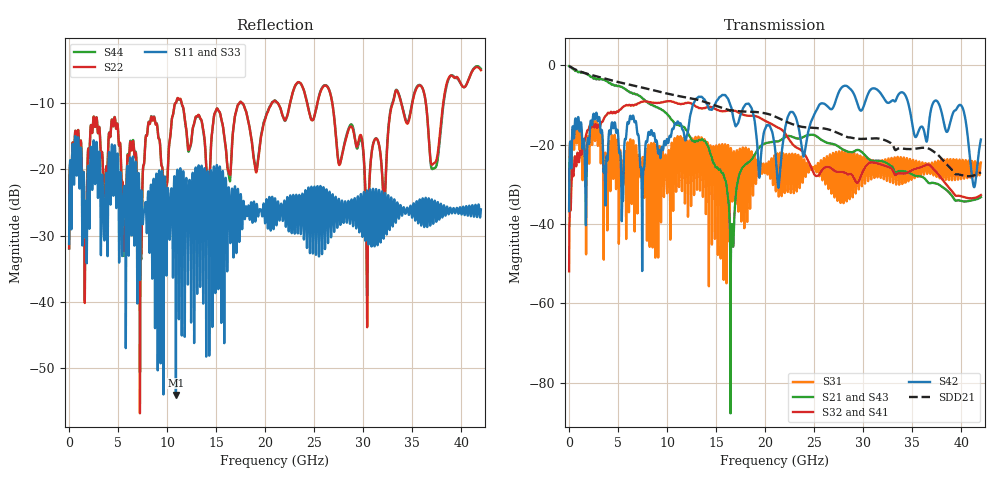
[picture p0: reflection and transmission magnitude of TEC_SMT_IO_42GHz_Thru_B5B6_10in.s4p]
!! CHANNEL DESCRIPTION: Next Generation 28Gbps High Density SMT I/O Connector
!!  with 10" 5-6-5 Megatron 6 Stripline trace on host side and 1.25" 7-5-7 Megtron 6 Microstrip trace on plug side at 14GHz
!! HOST PCB DESCRIPTION: PCB thickness 2.86 mm, Nelco 4000-13SI (Dk 3.32, Df 0.010)
!!  23 Layer Board, 12 GND planes, 2 Layer route-out on Layers 10,12, 8 mil stub on vias
!!  Pairs on following layers
!!  Layer 12 - B5B6
!! CONNECTOR DESCRIPTION:  Next Generation 28Gbps High Density SMT I/O Connector
!! PLUG-IN CARD DESCRIPTION:  PCB thickness 1mm thick, Nelco 4000-13SI (Dk 3.32, Df 0.010)
!!  6 Layer Board, 4 GND planes, 0.35 x 1.4mm mating pads
!!  Micro-strip diff traces referenced to GND plane 3mils down, 2nd GND plane 15mils from top of board
!!  PCB GND planes are symmetric
!! MODEL DESCRIPTION: TE Connectivity S-parameter model produced from Macro-model
!! MODEL DATE: 9/25/2014 CR1a_GC1i, VR6&12_4
!! MODEL STATUS: Developmental
!! MODEL GEOMETRY: 2 Rows - Rows A, B. 3 pairs in each row, 6 total pairs
!! MODEL FREQUENCY RANGE: DC to 42 GHz in 10 MHz frequency steps
!! MODEL EDGE RATE LIMITATION: 11.90 ps (Using conservative 0.5/Fmax rule of thumb)
!! TIME-DOMAIN TRANSFORM CAUTIONS:
!! 1.) Do not simulate transient edge rates faster than the number listed above.  Edge
!!  rates faster than this number contain significant spectral content at frequencies
!!  above the model's highest frequency.
!! 2.) Even when simulating edge rates that are slower than the number listed above, be
!!  aware that the best time resolution possible with a direct iFFT is (1 / 2Fmax).
!!  As a result, time resolution is typically not adequate for most time-domain
!!  simulations unless tricks such as frequency-domain zero-padding and windowing are
!!  used to minimize leakage and aliasing.
!! 3.) Because the model has a uniform frequency step, a direct iFFT will result in an
!!  impulse that that has a time length given by either (1 / Fstep) or (1 / 2Fstep),
!!  depending on the transform being used.  Care has been taken in selecting the
!!  frequency step to ensure a settled impulse response for the model.  Therefore,
!!  convolution with the model's impulse response should present no issues.  However,
!!  if directly concatenating s-parameter models in the frequency domain a user must
!!  either interpolate necessary interim frequencies or complete impulse response
!!  zero-padding.  Impulse response zero-padding is more difficult, but more accurate.
!! PORT DEFINITIONS:
!! Port  1  ----->  Host, Bot Row  B5  B5  Module, Top Row  <-----  Port  2
!! Port  3  ----->  Host, Bot Row  B6  B6  Module, Top Row  <-----  Port  4
# Hz S MA R 50
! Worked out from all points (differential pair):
!   4200 points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, 10 MHz to 42 GHz, reference 50 ohm
!   strongest paths, dB at 10 MHz, 10.51 GHz, 21.01 GHz, 31.51 GHz, 42 GHz:
!     S42: -36.7, -16.2, -21.0, -6.3, -18.7
!     S32: -51.9, -9.2, -15.3, -24.8, -32.7
!     S41: -51.9, -9.2, -15.3, -24.7, -32.6
!     S21: -0.2, -13.8, -19.2, -24.0, -33.2
!     S43: -0.2, -13.8, -19.3, -24.0, -33.2
!     S31: -36.8, -19.9, -24.4, -26.9, -24.5
!   taken as a pair (ports 1,3 in; 2,4 out), SDD21 dB: -0.2, -7.4, -12.9, -18.4, -26.9
!   lowest |S11| = -54.0 dB at 10.9 GHz (marker M1), VSWR 1.00, Z = 50 + j0.198 ohm
!   |S11| at or under -10 dB: start of sweep to end of sweep
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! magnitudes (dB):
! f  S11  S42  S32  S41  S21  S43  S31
! 10 MHz  -31.3  -36.7  -51.9  -51.9  -0.2  -0.2  -36.8
! 2.02 GHz  -22.0  -19.6  -16.1  -16.1  -2.5  -2.5  -22.5
! 10.9 GHz  -54.0  -14.8  -9.4  -9.4  -14.7  -14.7  -28.6
! 16.61 GHz  -23.2  -11.3  -11.7  -11.7  -40.0  -39.8  -28.5
! 22.28 GHz  -24.3  -13.2  -18.0  -18.1  -17.8  -17.9  -30.3
! 30.42 GHz  -23.6  -7.7  -25.0  -25.0  -23.3  -23.3  -25.6
! 42 GHz  -26.1  -18.7  -32.7  -32.6  -33.2  -33.2  -24.5
